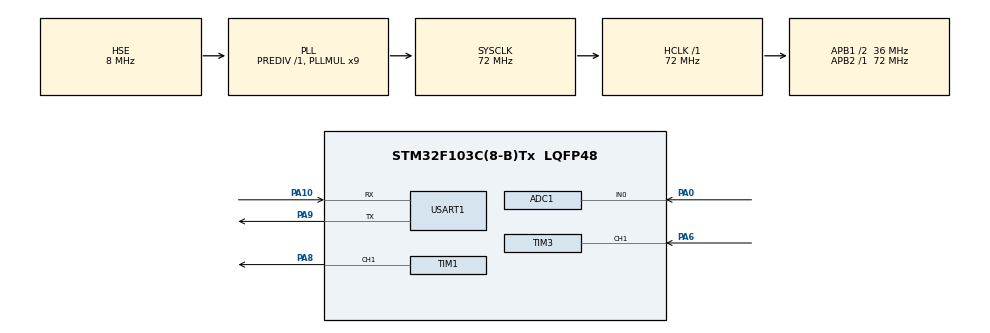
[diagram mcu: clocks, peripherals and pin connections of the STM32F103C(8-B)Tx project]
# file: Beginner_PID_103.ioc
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ADC1.Channel-0\#ChannelRegularConversion=ADC_CHANNEL_0
ADC1.ContinuousConvMode=ENABLE
ADC1.NbrOfConversionFlag=1
ADC1.Rank-0\#ChannelRegularConversion=1
ADC1.SamplingTime-0\#ChannelRegularConversion=ADC_SAMPLETIME_1CYCLE_5
ADC1.master=1
Dma.ADC1.0.Direction=DMA_PERIPH_TO_MEMORY
Dma.ADC1.0.Instance=DMA1_Channel1
Dma.ADC1.0.MemDataAlignment=DMA_MDATAALIGN_HALFWORD
Dma.ADC1.0.MemInc=DMA_MINC_ENABLE
Dma.ADC1.0.Mode=DMA_CIRCULAR
Dma.ADC1.0.PeriphDataAlignment=DMA_PDATAALIGN_HALFWORD
Dma.ADC1.0.PeriphInc=DMA_PINC_DISABLE
Dma.ADC1.0.Priority=DMA_PRIORITY_LOW
Dma.Request0=ADC1
Dma.Request1=TIM1_CH1
Dma.TIM1_CH1.1.Direction=DMA_MEMORY_TO_PERIPH
Dma.TIM1_CH1.1.Instance=DMA1_Channel2
Dma.TIM1_CH1.1.MemDataAlignment=DMA_MDATAALIGN_HALFWORD
Dma.TIM1_CH1.1.MemInc=DMA_MINC_ENABLE
Dma.TIM1_CH1.1.Mode=DMA_CIRCULAR
Dma.TIM1_CH1.1.PeriphDataAlignment=DMA_PDATAALIGN_HALFWORD
Dma.TIM1_CH1.1.PeriphInc=DMA_PINC_DISABLE
Dma.TIM1_CH1.1.Priority=DMA_PRIORITY_LOW
FREERTOS.Tasks01=defaultTask,0,256,StartDefaultTask,Default,NULL,Static,defaultTaskBuffer,defaultTaskControlBlock;my_PWM_Task,0,256,Start_PWM_Task,Default,NULL,Static,my_PWM_TaskBuffer,my_PWM_TaskControlBlock;my_ADC_Task,0,256,Start_ADC_Task,Default,NULL,Static,my_ADC_TaskBuffer,my_ADC_TaskControlBlock
FREERTOS.configUSE_NEWLIB_REENTRANT=1
Mcu.Family=STM32F1
Mcu.Name=STM32F103C(8-B)Tx
Mcu.Package=LQFP48
NVIC.DMA1_Channel1_IRQn=true\:5\:0\:false\:false\:true\:true\:false\:true\:true
NVIC.DMA1_Channel2_IRQn=true\:5\:0\:false\:false\:true\:true\:false\:true\:true
NVIC.PriorityGroup=NVIC_PRIORITYGROUP_4
NVIC.TIM3_IRQn=true\:5\:0\:false\:false\:true\:true\:true\:true\:true
NVIC.TIM4_IRQn=true\:15\:0\:false\:false\:true\:false\:false\:true\:true
NVIC.TimeBase=TIM4_IRQn
NVIC.TimeBaseIP=TIM4
PA0-WKUP.Signal=ADCx_IN0
PA10.Mode=Asynchronous
PA10.Signal=USART1_RX
PA13.Mode=Serial_Wire
PA13.Signal=SYS_JTMS-SWDIO
PA14.Mode=Serial_Wire
PA14.Signal=SYS_JTCK-SWCLK
PA6.Signal=S_TIM3_CH1
PA8.Signal=S_TIM1_CH1
PA9.Mode=Asynchronous
PA9.Signal=USART1_TX
PD0-OSC_IN.Mode=HSE-External-Oscillator
PD0-OSC_IN.Signal=RCC_OSC_IN
PD1-OSC_OUT.Mode=HSE-External-Oscillator
PD1-OSC_OUT.Signal=RCC_OSC_OUT
ProjectManager.HeapSize=0x200
ProjectManager.StackSize=0x400
ProjectManager.TargetToolchain=STM32CubeIDE
RCC.ADCPresc=RCC_ADCPCLK2_DIV6
RCC.AHBFreq_Value=72000000
RCC.APB1CLKDivider=RCC_HCLK_DIV2
RCC.APB1Freq_Value=36000000
RCC.APB1TimFreq_Value=72000000
RCC.APB2Freq_Value=72000000
RCC.APB2TimFreq_Value=72000000
RCC.HCLKFreq_Value=72000000
RCC.PLLMUL=RCC_PLL_MUL9
RCC.PLLSourceVirtual=RCC_PLLSOURCE_HSE
RCC.SYSCLKFreq_VALUE=72000000
RCC.SYSCLKSource=RCC_SYSCLKSOURCE_PLLCLK
RCC.USBFreq_Value=72000000
SH.ADCx_IN0.0=ADC1_IN0,IN0
SH.S_TIM1_CH1.0=TIM1_CH1,PWM Generation1 CH1
SH.S_TIM3_CH1.0=TIM3_CH1,Input_Capture1_from_TI1
TIM1.Channel-PWM\ Generation1\ CH1=TIM_CHANNEL_1
TIM1.Period=100-1
TIM1.Prescaler=71-1
TIM3.Channel-Input_Capture1_from_TI1=TIM_CHANNEL_1
TIM3.Prescaler=7199
TIM3.TIM_MasterOutputTrigger=TIM_TRGO_UPDATE
USART1.VirtualMode=VM_ASYNC
VP_FREERTOS_VS_CMSIS_V1.Mode=CMSIS_V1
VP_SYS_VS_tim4.Mode=TIM4
VP_TIM1_VS_ClockSourceINT.Mode=Internal
VP_TIM2_VS_ClockSourceITR.Mode=TriggerSource_ITR2
VP_TIM2_VS_ControllerModeClock.Mode=Clock Mode
board=custom

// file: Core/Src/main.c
/* USER CODE BEGIN Header */
/**
  ******************************************************************************
  * @file           : main.c
  * @brief          : Main program body
  ******************************************************************************
  * @attention
  *
  * Copyright (c) 2023 STMicroelectronics.
  * All rights reserved.
  *
  * This software is licensed under terms that can be found in the LICENSE file
  * in the root directory of this software component.
  * If no LICENSE file comes with this software, it is provided AS-IS.
  *
  ******************************************************************************
  */
/* USER CODE END Header */
#include "main.h"
#include "cmsis_os.h"

/* USER CODE BEGIN Includes */
#include <stdio.h>/* для printf */
#include <string.h>
/************** PWM *******************/
 uint16_t pwmData[1];
/************** ADC *******************/
#define ADC_BUF_LED 100 //4096
uint16_t adc_buf[ADC_BUF_LED];

/************** Tahometr *******************/
volatile uint8_t count = 0;
/************** Map *******************/
int16_t value = 0;     // For function "map" from analogRead(0);
int16_t in_max = 4050; // было 4095
int8_t in_min = 0;     // было 0
unsigned char out_max = 100;
int8_t out_min = 0;
/************** PID *******************/
#include <PID_v1.h>
#include <stdbool.h>
int8_t ticks_per_rev = 2; // Количество тактов кулера в один оборот.
float rpm = 0.0;
extern double Setpoint;
extern bool inAuto;
extern double Input;
extern double lastInput;// ????????
extern uint32_t Output;
extern double outMin; // минимальное ограничение на значение управляющего воздействия.
extern double outMax; // Максимальное ограничение на значение управляющего воздействия.
extern double error;
extern double ITerm; // Значение интегральной составляющей регулятора.
/* USER CODE END Includes */

ADC_HandleTypeDef hadc1;
DMA_HandleTypeDef hdma_adc1;

TIM_HandleTypeDef htim1;
TIM_HandleTypeDef htim2;
TIM_HandleTypeDef htim3;
DMA_HandleTypeDef hdma_tim1_ch1;

UART_HandleTypeDef huart1;

osThreadId defaultTaskHandle;
uint32_t defaultTaskBuffer[ 256 ];
osStaticThreadDef_t defaultTaskControlBlock;
osThreadId my_PWM_TaskHandle;
uint32_t my_PWM_TaskBuffer[ 256 ];
osStaticThreadDef_t my_PWM_TaskControlBlock;
osThreadId my_ADC_TaskHandle;
uint32_t my_ADC_TaskBuffer[ 256 ];
osStaticThreadDef_t my_ADC_TaskControlBlock;

void SystemClock_Config(void);
static void MX_GPIO_Init(void);
static void MX_DMA_Init(void);
static void MX_ADC1_Init(void);
static void MX_TIM1_Init(void);
static void MX_TIM2_Init(void);
static void MX_TIM3_Init(void);
static void MX_USART1_UART_Init(void);
void StartDefaultTask(void const * argument);
void Start_PWM_Task(void const * argument);
void Start_ADC_Task(void const * argument);

/* USER CODE BEGIN PFP */
int _write(int file, char *ptr, int len) {
	int i;
	HAL_UART_Transmit(&huart1, (uint8_t*) ptr, len, 50);
	for (i = 0; i < len; i++) {
		ITM_SendChar(*ptr++);
	}
	return len;
}
/* USER CODE END PFP */

/* USER CODE BEGIN 0 */
/************** Медианный фильтр *******************/
float median(float newVal)
{
    static float buf[3];
    static int count = 0;
    buf[count] = newVal;
    if (++count > 2)
        count = 0;

    float a = buf[0];
    float b = buf[1];
    float c = buf[2];

    float middle;
    if ((a <= b) && (a <= c))
    {
        middle = (b <= c) ? b : c;
    }
    else
    {
        if ((b <= a) && (b <= c))
        {
            middle = (a <= c) ? a : c;
        }
        else
        {
            middle = (a <= b) ? a : b;
        }
    }
    return middle;
}
/* USER CODE END 0 */

int main(void)
{

  /* MCU Configuration--------------------------------------------------------*/

  /* Reset of all peripherals, Initializes the Flash interface and the Systick. */
  HAL_Init();

  /* Configure the system clock */
  SystemClock_Config();

  /* Initialize all configured peripherals */
  MX_GPIO_Init();
  MX_DMA_Init();
  MX_ADC1_Init();
  MX_TIM1_Init();
  MX_TIM2_Init();
  MX_TIM3_Init();
  MX_USART1_UART_Init();
  /* USER CODE BEGIN 2 */
  /************** Frequencymeter *******************/
  HAL_TIM_IC_Start_IT(&htim3, TIM_CHANNEL_1);
  /* USER CODE END 2 */

  /* Create the thread(s) */
  /* definition and creation of defaultTask */
  osThreadStaticDef(defaultTask, StartDefaultTask, osPriorityNormal, 0, 256, defaultTaskBuffer, &defaultTaskControlBlock);
  defaultTaskHandle = osThreadCreate(osThread(defaultTask), NULL);

  /* definition and creation of my_PWM_Task */
  osThreadStaticDef(my_PWM_Task, Start_PWM_Task, osPriorityNormal, 0, 256, my_PWM_TaskBuffer, &my_PWM_TaskControlBlock);
  my_PWM_TaskHandle = osThreadCreate(osThread(my_PWM_Task), NULL);

  /* definition and creation of my_ADC_Task */
  osThreadStaticDef(my_ADC_Task, Start_ADC_Task, osPriorityNormal, 0, 256, my_ADC_TaskBuffer, &my_ADC_TaskControlBlock);
  my_ADC_TaskHandle = osThreadCreate(osThread(my_ADC_Task), NULL);

  /* USER CODE BEGIN RTOS_THREADS */
  /* add threads, ... */
  printf("Hello world! \r\n");
  /* USER CODE END RTOS_THREADS */

  /* Start scheduler */
  osKernelStart();
  /* We should never get here as control is now taken by the scheduler */
  /* Infinite loop */
  while (1)
  {

  }
}

void SystemClock_Config(void)
{
  RCC_OscInitTypeDef RCC_OscInitStruct = {0};
  RCC_ClkInitTypeDef RCC_ClkInitStruct = {0};
  RCC_PeriphCLKInitTypeDef PeriphClkInit = {0};

  /** Initializes the RCC Oscillators according to the specified parameters
  * in the RCC_OscInitTypeDef structure.
  */
  RCC_OscInitStruct.OscillatorType = RCC_OSCILLATORTYPE_HSE;
  RCC_OscInitStruct.HSEState = RCC_HSE_ON;
  RCC_OscInitStruct.HSEPredivValue = RCC_HSE_PREDIV_DIV1;
  RCC_OscInitStruct.HSIState = RCC_HSI_ON;
  RCC_OscInitStruct.PLL.PLLState = RCC_PLL_ON;
  RCC_OscInitStruct.PLL.PLLSource = RCC_PLLSOURCE_HSE;
  RCC_OscInitStruct.PLL.PLLMUL = RCC_PLL_MUL9;
  if (HAL_RCC_OscConfig(&RCC_OscInitStruct) != HAL_OK)
  {
    Error_Handler();
  }

  /** Initializes the CPU, AHB and APB buses clocks
  */
  RCC_ClkInitStruct.ClockType = RCC_CLOCKTYPE_HCLK|RCC_CLOCKTYPE_SYSCLK
                              |RCC_CLOCKTYPE_PCLK1|RCC_CLOCKTYPE_PCLK2;
  RCC_ClkInitStruct.SYSCLKSource = RCC_SYSCLKSOURCE_PLLCLK;
  RCC_ClkInitStruct.AHBCLKDivider = RCC_SYSCLK_DIV1;
  RCC_ClkInitStruct.APB1CLKDivider = RCC_HCLK_DIV2;
  RCC_ClkInitStruct.APB2CLKDivider = RCC_HCLK_DIV1;

  if (HAL_RCC_ClockConfig(&RCC_ClkInitStruct, FLASH_LATENCY_2) != HAL_OK)
  {
    Error_Handler();
  }
  PeriphClkInit.PeriphClockSelection = RCC_PERIPHCLK_ADC;
  PeriphClkInit.AdcClockSelection = RCC_ADCPCLK2_DIV6;
  if (HAL_RCCEx_PeriphCLKConfig(&PeriphClkInit) != HAL_OK)
  {
    Error_Handler();
  }
}

static void MX_ADC1_Init(void)
{

  ADC_ChannelConfTypeDef sConfig = {0};

  /** Common config
  */
  hadc1.Instance = ADC1;
  hadc1.Init.ScanConvMode = ADC_SCAN_DISABLE;
  hadc1.Init.ContinuousConvMode = ENABLE;
  hadc1.Init.DiscontinuousConvMode = DISABLE;
  hadc1.Init.ExternalTrigConv = ADC_SOFTWARE_START;
  hadc1.Init.DataAlign = ADC_DATAALIGN_RIGHT;
  hadc1.Init.NbrOfConversion = 1;
  if (HAL_ADC_Init(&hadc1) != HAL_OK)
  {
    Error_Handler();
  }

  /** Configure Regular Channel
  */
  sConfig.Channel = ADC_CHANNEL_0;
  sConfig.Rank = ADC_REGULAR_RANK_1;
  sConfig.SamplingTime = ADC_SAMPLETIME_1CYCLE_5;
  if (HAL_ADC_ConfigChannel(&hadc1, &sConfig) != HAL_OK)
  {
    Error_Handler();
  }

}

static void MX_TIM1_Init(void)
{

  TIM_ClockConfigTypeDef sClockSourceConfig = {0};
  TIM_MasterConfigTypeDef sMasterConfig = {0};
  TIM_OC_InitTypeDef sConfigOC = {0};
  TIM_BreakDeadTimeConfigTypeDef sBreakDeadTimeConfig = {0};

  htim1.Instance = TIM1;
  htim1.Init.Prescaler = 71-1;
  htim1.Init.CounterMode = TIM_COUNTERMODE_UP;
  htim1.Init.Period = 100-1;
  htim1.Init.ClockDivision = TIM_CLOCKDIVISION_DIV1;
  htim1.Init.RepetitionCounter = 0;
  htim1.Init.AutoReloadPreload = TIM_AUTORELOAD_PRELOAD_DISABLE;
  if (HAL_TIM_Base_Init(&htim1) != HAL_OK)
  {
    Error_Handler();
  }
  sClockSourceConfig.ClockSource = TIM_CLOCKSOURCE_INTERNAL;
  if (HAL_TIM_ConfigClockSource(&htim1, &sClockSourceConfig) != HAL_OK)
  {
    Error_Handler();
  }
  if (HAL_TIM_PWM_Init(&htim1) != HAL_OK)
  {
    Error_Handler();
  }
  sMasterConfig.MasterOutputTrigger = TIM_TRGO_RESET;
  sMasterConfig.MasterSlaveMode = TIM_MASTERSLAVEMODE_DISABLE;
  if (HAL_TIMEx_MasterConfigSynchronization(&htim1, &sMasterConfig) != HAL_OK)
  {
    Error_Handler();
  }
  sConfigOC.OCMode = TIM_OCMODE_PWM1;
  sConfigOC.Pulse = 0;
  sConfigOC.OCPolarity = TIM_OCPOLARITY_HIGH;
  sConfigOC.OCNPolarity = TIM_OCNPOLARITY_HIGH;
  sConfigOC.OCFastMode = TIM_OCFAST_DISABLE;
  sConfigOC.OCIdleState = TIM_OCIDLESTATE_RESET;
  sConfigOC.OCNIdleState = TIM_OCNIDLESTATE_RESET;
  if (HAL_TIM_PWM_ConfigChannel(&htim1, &sConfigOC, TIM_CHANNEL_1) != HAL_OK)
  {
    Error_Handler();
  }
  sBreakDeadTimeConfig.OffStateRunMode = TIM_OSSR_DISABLE;
  sBreakDeadTimeConfig.OffStateIDLEMode = TIM_OSSI_DISABLE;
  sBreakDeadTimeConfig.LockLevel = TIM_LOCKLEVEL_OFF;
  sBreakDeadTimeConfig.DeadTime = 0;
  sBreakDeadTimeConfig.BreakState = TIM_BREAK_DISABLE;
  sBreakDeadTimeConfig.BreakPolarity = TIM_BREAKPOLARITY_HIGH;
  sBreakDeadTimeConfig.AutomaticOutput = TIM_AUTOMATICOUTPUT_DISABLE;
  if (HAL_TIMEx_ConfigBreakDeadTime(&htim1, &sBreakDeadTimeConfig) != HAL_OK)
  {
    Error_Handler();
  }
  HAL_TIM_MspPostInit(&htim1);

}

static void MX_TIM2_Init(void)
{

  TIM_SlaveConfigTypeDef sSlaveConfig = {0};
  TIM_MasterConfigTypeDef sMasterConfig = {0};

  htim2.Instance = TIM2;
  htim2.Init.Prescaler = 0;
  htim2.Init.CounterMode = TIM_COUNTERMODE_UP;
  htim2.Init.Period = 65535;
  htim2.Init.ClockDivision = TIM_CLOCKDIVISION_DIV1;
  htim2.Init.AutoReloadPreload = TIM_AUTORELOAD_PRELOAD_DISABLE;
  if (HAL_TIM_Base_Init(&htim2) != HAL_OK)
  {
    Error_Handler();
  }
  sSlaveConfig.SlaveMode = TIM_SLAVEMODE_EXTERNAL1;
  sSlaveConfig.InputTrigger = TIM_TS_ITR2;
  if (HAL_TIM_SlaveConfigSynchro(&htim2, &sSlaveConfig) != HAL_OK)
  {
    Error_Handler();
  }
  sMasterConfig.MasterOutputTrigger = TIM_TRGO_RESET;
  sMasterConfig.MasterSlaveMode = TIM_MASTERSLAVEMODE_DISABLE;
  if (HAL_TIMEx_MasterConfigSynchronization(&htim2, &sMasterConfig) != HAL_OK)
  {
    Error_Handler();
  }

}

static void MX_TIM3_Init(void)
{

  TIM_MasterConfigTypeDef sMasterConfig = {0};
  TIM_IC_InitTypeDef sConfigIC = {0};

  htim3.Instance = TIM3;
  htim3.Init.Prescaler = 7199;
  htim3.Init.CounterMode = TIM_COUNTERMODE_UP;
  htim3.Init.Period = 65535;
  htim3.Init.ClockDivision = TIM_CLOCKDIVISION_DIV1;
  htim3.Init.AutoReloadPreload = TIM_AUTORELOAD_PRELOAD_DISABLE;
  if (HAL_TIM_IC_Init(&htim3) != HAL_OK)
  {
    Error_Handler();
  }
  sMasterConfig.MasterOutputTrigger = TIM_TRGO_UPDATE;
  sMasterConfig.MasterSlaveMode = TIM_MASTERSLAVEMODE_DISABLE;
  if (HAL_TIMEx_MasterConfigSynchronization(&htim3, &sMasterConfig) != HAL_OK)
  {
    Error_Handler();
  }
  sConfigIC.ICPolarity = TIM_INPUTCHANNELPOLARITY_RISING;
  sConfigIC.ICSelection = TIM_ICSELECTION_DIRECTTI;
  sConfigIC.ICPrescaler = TIM_ICPSC_DIV1;
  sConfigIC.ICFilter = 0;
  if (HAL_TIM_IC_ConfigChannel(&htim3, &sConfigIC, TIM_CHANNEL_1) != HAL_OK)
  {
    Error_Handler();
  }

}

static void MX_USART1_UART_Init(void)
{

  huart1.Instance = USART1;
  huart1.Init.BaudRate = 115200;
  huart1.Init.WordLength = UART_WORDLENGTH_8B;
  huart1.Init.StopBits = UART_STOPBITS_1;
  huart1.Init.Parity = UART_PARITY_NONE;
  huart1.Init.Mode = UART_MODE_TX_RX;
  huart1.Init.HwFlowCtl = UART_HWCONTROL_NONE;
  huart1.Init.OverSampling = UART_OVERSAMPLING_16;
  if (HAL_UART_Init(&huart1) != HAL_OK)
  {
    Error_Handler();
  }

}

static void MX_DMA_Init(void)
{

  /* DMA controller clock enable */
  __HAL_RCC_DMA1_CLK_ENABLE();

  /* DMA interrupt init */
  /* DMA1_Channel1_IRQn interrupt configuration */
  HAL_NVIC_SetPriority(DMA1_Channel1_IRQn, 5, 0);
  HAL_NVIC_EnableIRQ(DMA1_Channel1_IRQn);
  /* DMA1_Channel2_IRQn interrupt configuration */
  HAL_NVIC_SetPriority(DMA1_Channel2_IRQn, 5, 0);
  HAL_NVIC_EnableIRQ(DMA1_Channel2_IRQn);

}

static void MX_GPIO_Init(void)
{

  /* GPIO Ports Clock Enable */
  __HAL_RCC_GPIOD_CLK_ENABLE();
  __HAL_RCC_GPIOA_CLK_ENABLE();

}

/* USER CODE BEGIN 4 */
/************** LOW frequencymeter *******************/
void HAL_TIM_IC_CaptureCallback(TIM_HandleTypeDef *htim)
{
	if(htim == &htim3)
	{
		if(htim->Channel == HAL_TIM_ACTIVE_CHANNEL_1)
		{
			count++;

			if(count == 1)
			{
				__HAL_TIM_SET_COUNTER(&htim3, 0x0000);
				__HAL_TIM_SET_COUNTER(&htim2, 0x0000);
			}

			else if(count == 2)
			{
				HAL_TIM_IC_Stop_IT(&htim3, TIM_CHANNEL_1);

				count = 0;

				uint16_t count_main = HAL_TIM_ReadCapturedValue(&htim3, TIM_CHANNEL_1);
				uint16_t count_secondary = __HAL_TIM_GET_COUNTER(&htim2);
				uint16_t arr = __HAL_TIM_GET_AUTORELOAD(&htim2);
				uint32_t res = count_main + (count_secondary * arr) + count_secondary;

				float freq = 1 / (res / 1000000.0);

				char str[96] = {0,};
				//snprintf(str, 96, "Capture Freq: %.3f Hz | res: %lu | cm: %d | cs: %d\n", (float)freq, res, count_main, count_secondary);
				snprintf(str, 96, "Capture Freq: %.3f Hz\n", (float)freq);
				HAL_UART_Transmit(&huart1, (uint8_t*)str, strlen(str), 1000);

				rpm = (float)freq / (ticks_per_rev * 60.0);
				printf("RPM of cooler = %.3f rpm per minut! \r\n",rpm);//From 0 up to 134,409.

				HAL_TIM_IC_Start_IT(&htim3, TIM_CHANNEL_1);
			}
		}
	}
}
/* USER CODE END 4 */

void StartDefaultTask(void const * argument)
{
  /* USER CODE BEGIN 5 */
	HAL_TIM_IC_Start_IT(&htim3, TIM_CHANNEL_1);
	/************** PID *******************/
	SetTunings(0, 4.74575910231458, 0); // настройка коэффициентов PID контроллера
	SetSampleTime(1); // установка времени дискретизации в ms.
	SetOutputLimits(0, 100.0); // установка границ выходного сигнала (0, 134)
	outMin = 0; // минимальное ограничение на значение управляющего воздействия.
	outMax = 100.0; //134.0
	SetControllerDirection(DIRECT); // установка направления контроллера
	SetMode(AUTOMATIC); // Режим PID контролера.
	Setpoint = 50.0; // Желаемое количество оборотов в минуту
	/* Infinite loop */
	for (;;) {

		// Считываем текущее количество оборотов в минуту
		Input = rpm;  // Замените ... на код для считывания текущего значения оборотов в минуту
		Compute(); // вычисление выходного сигнала контроллера
	    // Устанавливаем скорость мотора с помощью выхода PID-контроллера
		if (inAuto) // если контроллер в режиме автоматического управления
		{
			pwmData[0] = Output;
			HAL_TIM_PWM_Start_DMA(&htim1, TIM_CHANNEL_1, (uint32_t*) pwmData,1);
			printf("Output= %ld\r\n", Output);
		}
//	    osDelay(1);
	}
  /* USER CODE END 5 */
}

void Start_PWM_Task(void const * argument)
{
  /* USER CODE BEGIN Start_PWM_Task */
/************** PWM *******************/
  pwmData[0] = 70;
  /* Infinite loop */
  for(;;)
  {
//	value = (adc_buf[0] - in_min) * (out_max - out_min) / (in_max - in_min) + out_min; // Function map
//	pwmData[0] = value;
//	HAL_TIM_PWM_Start_DMA(&htim1, TIM_CHANNEL_1, (uint32_t *)pwmData, 1);
//	printf("pwmData[0] = %d\r\n",pwmData[0]);
	osDelay(1000);
  }
  /* USER CODE END Start_PWM_Task */
}

void Start_ADC_Task(void const * argument)
{
  /* USER CODE BEGIN Start_ADC_Task */
	  HAL_ADC_Start_DMA(&hadc1, (uint32_t*)adc_buf, ADC_BUF_LED);
  /* Infinite loop */
  for(;;)
  {
	  //printf("adc_buf = %u\r\n",(unsigned int)adc_buf[0]);
    osDelay(1000);
  }
  /* USER CODE END Start_ADC_Task */
}

void HAL_TIM_PeriodElapsedCallback(TIM_HandleTypeDef *htim)
{
  if (htim->Instance == TIM4) {
    HAL_IncTick();
  }
}

void Error_Handler(void)
{
  __disable_irq();
  while (1)
  {
  }
}
